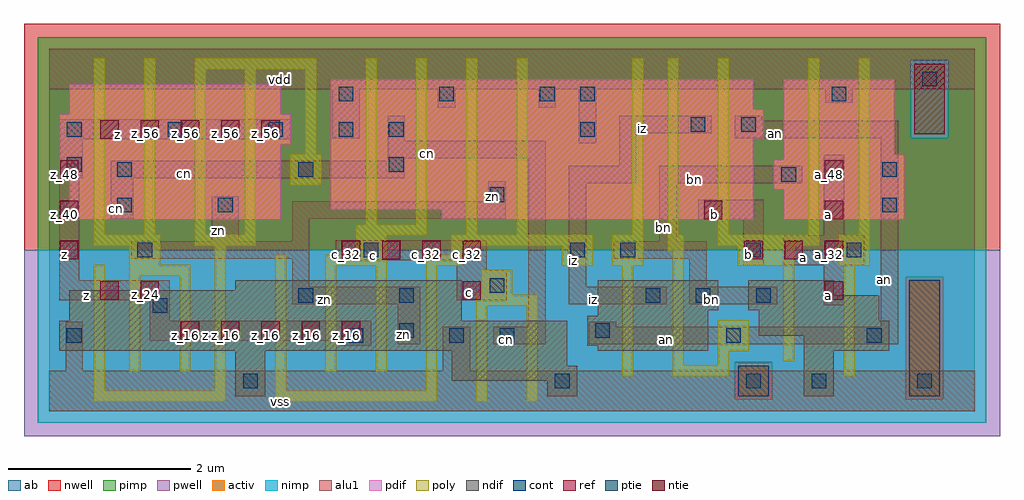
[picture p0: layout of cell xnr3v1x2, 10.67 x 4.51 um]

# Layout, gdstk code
import gdstk
lib = gdstk.Library(unit=1e-6, precision=2.5e-09)
def R(c, l, rs):  # rectangles x0, y0, x1, y1
    for r in rs: c.add(gdstk.rectangle(r[:2], r[2:], *l))
def A(c, l, x, y, w, h, nx, ny, dx, dy):  # array of equal rectangles
    R(c, l, [(x+i*dx, y+j*dy, x+i*dx+w, y+j*dy+h) for i in range(nx) for j in range(ny)])
ndif = (3, 0)
pdif = (4, 0)
ntie = (5, 0)
ptie = (6, 0)
ref = (24, 0)
cont = (25, 0)
pwell = (41, 0)
nwell = (42, 0)
activ = (43, 0)
pimp = (44, 0)
nimp = (45, 0)
poly = (46, 0)
alu1 = (49, 0)
ab = (63, 0)

xnr3v1x2 = lib.new_cell('xnr3v1x2')
R(xnr3v1x2, ndif, [(2.035,0.165,2.365,0.66), (5.445,0.165,5.775,0.33), (8.25,0.165,8.58,0.66), (4.4,0.33,5.775,0.495), (4.4,0.495,5.665,0.66), (0.11,0.66,5.665,0.99), (5.995,0.66,7.205,0.715), (8.25,0.66,9.185,0.825), (5.885,0.715,7.205,1.045), (7.755,0.825,9.185,0.99), (0.22,0.99,4.51,1.32), (7.755,0.99,9.075,1.1), (5.995,1.045,7.205,1.1), (5.995,1.1,7.315,1.43), (7.645,1.1,9.075,1.265), (7.645,1.265,8.58,1.43), (2.035,1.32,4.51,1.43)])
R(xnr3v1x2, pdif, [(0.22,2.09,2.53,2.53), (4.29,2.09,7.7,2.2), (8.03,2.09,9.35,2.42), (3.08,2.2,7.7,2.97), (7.92,2.42,9.35,2.75), (0.11,2.53,2.53,2.915), (8.03,2.75,9.35,2.805), (8.03,2.805,9.24,3.63), (0.11,2.915,2.64,3.245), (3.08,2.97,7.81,3.3), (0.22,3.245,2.53,3.575), (3.08,3.3,7.7,3.63)])
R(xnr3v1x2, ntie, [(9.46,3.025,9.79,3.795)])
R(xnr3v1x2, ptie, [(7.535,0.165,7.865,0.495), (9.405,0.165,9.735,1.43)])
A(xnr3v1x2, ref, 1.44, 0.78, 0.2, 0.2, 5, 1, 0.44, 0)
A(xnr3v1x2, ref, 0.12, 1.66, 0.2, 0.2, 1, 3, 0, 0.44)
A(xnr3v1x2, ref, 3.2, 1.66, 0.2, 0.2, 4, 1, 0.44, 0)
A(xnr3v1x2, ref, 7.6, 1.66, 0.2, 0.2, 3, 1, 0.44, 0)
A(xnr3v1x2, ref, 0.56, 2.98, 0.2, 0.2, 5, 1, 0.44, 0)
R(xnr3v1x2, ref, [(0.56,1.22,0.76,1.42), (1,1.22,1.2,1.42), (4.52,1.22,4.72,1.42), (8.48,1.22,8.68,1.42), (7.16,2.1,7.36,2.3), (8.48,2.1,8.68,2.3), (8.48,2.54,8.68,2.74)])
A(xnr3v1x2, cont, 0.195, 3, 0.16, 0.16, 3, 1, 1.1, 0)
A(xnr3v1x2, cont, 3.165, 3.385, 0.16, 0.16, 3, 1, 1.1, 0)
R(xnr3v1x2, cont, [(2.12,0.25,2.28,0.41), (5.53,0.25,5.69,0.41), (7.62,0.25,7.78,0.41), (8.335,0.25,8.495,0.41), (9.49,0.25,9.65,0.41), (0.195,0.745,0.355,0.905), (3.275,0.745,3.435,0.905), (4.375,0.745,4.535,0.905), (4.925,0.745,5.085,0.905), (7.4,0.745,7.56,0.905), (8.94,0.745,9.1,0.905), (3.825,0.8,3.985,0.96), (5.97,0.8,6.13,0.96), (1.13,1.075,1.29,1.235), (2.725,1.185,2.885,1.345), (3.825,1.185,3.985,1.345), (6.52,1.185,6.68,1.345), (7.07,1.185,7.23,1.345), (7.73,1.185,7.89,1.345), (4.815,1.295,4.975,1.455), (0.965,1.68,1.125,1.84), (3.44,1.68,3.6,1.84), (5.695,1.68,5.855,1.84), (6.245,1.68,6.405,1.84), (7.62,1.68,7.78,1.84), (8.72,1.68,8.88,1.84), (0.745,2.175,0.905,2.335), (1.845,2.175,2.005,2.335), (9.105,2.175,9.265,2.335), (4.815,2.285,4.975,2.445), (8.005,2.505,8.165,2.665), (0.745,2.56,0.905,2.72), (2.725,2.56,2.885,2.72), (9.105,2.56,9.265,2.72), (0.195,2.615,0.355,2.775), (3.715,2.615,3.875,2.775), (3.165,3,3.325,3.16), (3.715,3,3.875,3.16), (5.805,3,5.965,3.16), (7.015,3.055,7.175,3.215), (7.565,3.055,7.725,3.215), (5.805,3.385,5.965,3.545), (8.555,3.385,8.715,3.545), (9.545,3.55,9.705,3.71)])
R(xnr3v1x2, pwell, [(-0.275,-0.275,10.395,1.76)])
R(xnr3v1x2, nwell, [(-0.275,1.76,10.395,4.235)])
R(xnr3v1x2, activ, [(2.035,0.165,2.365,0.66), (5.445,0.165,5.775,0.33), (7.535,0.165,7.865,0.495), (8.25,0.165,8.58,0.66), (9.405,0.165,9.735,1.43), (4.4,0.33,5.775,0.495), (4.4,0.495,5.665,0.66), (0.11,0.66,5.665,0.99), (5.995,0.66,7.205,0.715), (8.25,0.66,9.185,0.825), (5.885,0.715,7.205,1.045), (7.755,0.825,9.185,0.99), (0.22,0.99,4.51,1.32), (7.755,0.99,9.075,1.1), (5.995,1.045,7.205,1.1), (5.995,1.1,7.315,1.43), (7.645,1.1,9.075,1.265), (7.645,1.265,8.58,1.43), (2.035,1.32,4.51,1.43), (0.22,2.09,2.53,2.53), (4.29,2.09,7.7,2.2), (8.03,2.09,9.35,2.42), (3.08,2.2,7.7,2.97), (7.92,2.42,9.35,2.75), (0.11,2.53,2.53,2.915), (8.03,2.75,9.35,2.805), (8.03,2.805,9.24,3.63), (0.11,2.915,2.64,3.245), (3.08,2.97,7.81,3.3), (9.46,3.025,9.79,3.795), (0.22,3.245,2.53,3.575), (3.08,3.3,7.7,3.63)])
R(xnr3v1x2, pimp, [(7.495,0.125,7.905,0.535), (9.365,0.125,9.775,1.47), (-0.125,1.76,10.245,2.985), (-0.125,2.985,9.42,3.835), (9.83,2.985,10.245,3.835), (-0.125,3.835,10.245,4.085)])
R(xnr3v1x2, nimp, [(-0.125,-0.125,10.245,0.125), (-0.125,0.125,7.495,0.535), (7.905,0.125,9.365,0.535), (9.775,0.125,10.245,1.47), (-0.125,0.535,9.365,1.47), (-0.125,1.47,10.245,1.76), (9.42,2.985,9.83,3.835)])
R(xnr3v1x2, poly, [(0.49,0.105,1.93,0.225), (2.47,0.105,4.24,0.225), (4.67,0.105,4.79,1.15), (5.22,0.105,5.34,1.15), (0.49,0.225,0.61,1.6), (1.81,0.225,1.93,1.81), (2.47,0.225,2.59,1.71), (4.12,0.225,4.24,1.59), (6.265,0.38,6.385,1.59), (6.815,0.38,7.43,0.5), (8.685,0.38,8.805,1.59), (0.875,0.435,0.995,1.48), (1.425,0.435,1.545,1.48), (3.02,0.435,3.14,1.59), (3.57,0.435,3.69,1.59), (6.815,0.5,6.935,1.755), (7.31,0.5,7.43,0.655), (8.025,0.545,8.145,1.59), (7.31,0.655,7.65,0.995), (4.67,1.15,5.34,1.27), (4.725,1.27,5.065,1.545), (0.875,1.48,1.545,1.6), (3.02,1.59,3.69,1.71), (4.12,1.59,4.515,1.71), (5.605,1.59,5.945,1.81), (6.155,1.59,6.495,1.93), (7.53,1.59,8.145,1.81), (8.63,1.59,8.97,1.93), (0.875,1.6,1.215,1.81), (3.35,1.71,3.69,1.92), (4.395,1.71,4.515,1.81), (6.76,1.755,6.935,1.93), (0.49,1.81,1.215,1.93), (1.59,1.81,2.26,1.93), (4.395,1.81,5.945,1.93), (7.31,1.81,8.42,1.93), (3.35,1.92,4.13,2.04), (0.49,1.93,0.61,3.855), (1.04,1.93,1.16,3.855), (1.59,1.93,1.71,3.735), (2.14,1.93,2.26,3.735), (4.56,1.93,4.68,3.855), (5.11,1.93,5.23,3.855), (6.375,1.93,6.495,3.855), (6.76,1.93,6.88,3.855), (7.31,1.93,7.43,3.855), (8.3,1.93,8.42,3.855), (8.85,1.93,8.97,3.855), (3.46,2.04,3.58,3.855), (4.01,2.04,4.13,3.855), (2.635,2.47,2.975,2.81), (2.8,2.81,2.92,3.735), (1.59,3.735,2.92,3.855)])
R(xnr3v1x2, alu1, [(0,0,10.12,0.44), (0.18,0.44,0.37,0.975), (4.305,0.44,4.605,0.92), (3.19,0.715,3.52,0.77), (3.81,0.73,4.055,1.17), (4.855,0.73,5.43,0.92), (5.9,0.73,9.28,0.92), (1.1,0.77,3.52,0.99), (5.24,0.92,5.43,2.765), (5.9,0.92,6.2,0.975), (9.09,0.92,9.28,2.985), (1.1,0.99,1.32,1.21), (8.47,1.155,8.69,1.595), (2.655,1.17,4.055,1.36), (5.68,1.17,6.75,1.36), (7,1.17,7.96,1.36), (0.11,1.21,1.32,1.43), (4.455,1.21,5.005,1.54), (2.655,1.36,2.845,1.665), (5.68,1.36,5.87,2.49), (7,1.36,7.19,1.665), (0.11,1.43,0.33,2.545), (4.455,1.54,4.785,1.65), (7.59,1.595,7.81,2.09), (8.03,1.595,8.91,1.925), (3.135,1.65,4.785,1.87), (0.895,1.665,2.845,1.855), (6.175,1.665,7.19,1.855), (1.775,1.855,2.075,2.35), (2.655,1.855,2.845,2.105), (6.67,1.855,6.86,2.49), (8.47,1.925,8.69,2.805), (7.095,2.09,7.81,2.31), (0.675,2.105,0.92,2.545), (2.655,2.105,4.99,2.295), (4.8,2.295,4.99,2.515), (5.68,2.49,6.42,2.68), (6.67,2.49,8.235,2.68), (0.11,2.545,0.37,2.97), (0.675,2.545,3.89,2.735), (6.23,2.68,6.42,3.04), (3.7,2.735,3.89,2.765), (3.7,2.765,5.43,2.955), (5.79,2.93,5.98,3.52), (3.7,2.955,3.89,3.23), (0.11,2.97,2.64,3.19), (3.095,2.985,3.395,3.52), (7.495,2.985,9.28,3.175), (6.23,3.04,7.245,3.23), (7.495,3.175,7.795,3.23), (4.25,3.315,4.44,3.52), (5.35,3.315,5.54,3.52), (8.485,3.37,8.785,3.52), (0,3.52,10.12,3.96)])
R(xnr3v1x2, ab, [(0,0,10.12,3.96)])
xnr3v1x2.add(gdstk.Label('vss', (2.53,0.11), layer=49, texttype=0))
xnr3v1x2.add(gdstk.Label('an', (6.745,0.7775), layer=49, texttype=0))
xnr3v1x2.add(gdstk.Label('an', (9.1375,1.435), layer=49, texttype=0))
xnr3v1x2.add(gdstk.Label('cn', (4.9975,0.7775), layer=49, texttype=0))
xnr3v1x2.add(gdstk.Label('a', (8.525,1.265), layer=49, texttype=0))
xnr3v1x2.add(gdstk.Label('bn', (7.24,1.2175), layer=49, texttype=0))
xnr3v1x2.add(gdstk.Label('iz', (5.9475,1.2175), layer=49, texttype=0))
xnr3v1x2.add(gdstk.Label('a', (8.25,1.6775), layer=49, texttype=0))
xnr3v1x2.add(gdstk.Label('a', (8.525,2.145), layer=49, texttype=0))
xnr3v1x2.add(gdstk.Label('b', (7.645,1.7175), layer=49, texttype=0))
xnr3v1x2.add(gdstk.Label('b', (7.2725,2.145), layer=49, texttype=0))
xnr3v1x2.add(gdstk.Label('bn', (6.7175,2.0125), layer=49, texttype=0))
xnr3v1x2.add(gdstk.Label('iz', (5.7275,1.6425), layer=49, texttype=0))
xnr3v1x2.add(gdstk.Label('bn', (7.06,2.5375), layer=49, texttype=0))
xnr3v1x2.add(gdstk.Label('an', (7.94,3.0325), layer=49, texttype=0))
xnr3v1x2.add(gdstk.Label('zn', (3.87,0.84), layer=49, texttype=0))
xnr3v1x2.add(gdstk.Label('z', (1.705,0.825), layer=49, texttype=0))
xnr3v1x2.add(gdstk.Label('c', (4.5925,1.2925), layer=49, texttype=0))
xnr3v1x2.add(gdstk.Label('zn', (3.005,1.2175), layer=49, texttype=0))
xnr3v1x2.add(gdstk.Label('c', (3.5475,1.705), layer=49, texttype=0))
xnr3v1x2.add(gdstk.Label('z', (0.4125,1.265), layer=49, texttype=0))
xnr3v1x2.add(gdstk.Label('zn', (4.8475,2.35), layer=49, texttype=0))
xnr3v1x2.add(gdstk.Label('zn', (1.85,1.9775), layer=49, texttype=0))
xnr3v1x2.add(gdstk.Label('cn', (0.735,2.215), layer=49, texttype=0))
xnr3v1x2.add(gdstk.Label('z', (0.165,1.7075), layer=49, texttype=0))
xnr3v1x2.add(gdstk.Label('cn', (1.4775,2.5925), layer=49, texttype=0))
xnr3v1x2.add(gdstk.Label('iz', (6.4825,3.0875), layer=49, texttype=0))
xnr3v1x2.add(gdstk.Label('cn', (4.1325,2.8125), layer=49, texttype=0))
xnr3v1x2.add(gdstk.Label('z', (0.7425,3.025), layer=49, texttype=0))
xnr3v1x2.add(gdstk.Label('vdd', (2.53,3.63), layer=49, texttype=0))
xnr3v1x2.add(gdstk.Label('c_32', (4.57,1.71), layer=24, texttype=0))
xnr3v1x2.add(gdstk.Label('c_24', (4.57,1.27), layer=24, texttype=0))
xnr3v1x2.add(gdstk.Label('c_32', (4.13,1.71), layer=24, texttype=0))
xnr3v1x2.add(gdstk.Label('c_32', (3.69,1.71), layer=24, texttype=0))
xnr3v1x2.add(gdstk.Label('c_32', (3.25,1.71), layer=24, texttype=0))
xnr3v1x2.add(gdstk.Label('z_16', (3.25,0.83), layer=24, texttype=0))
xnr3v1x2.add(gdstk.Label('z_16', (2.81,0.83), layer=24, texttype=0))
xnr3v1x2.add(gdstk.Label('z_56', (2.37,3.03), layer=24, texttype=0))
xnr3v1x2.add(gdstk.Label('z_16', (2.37,0.83), layer=24, texttype=0))
xnr3v1x2.add(gdstk.Label('z_48', (0.17,2.59), layer=24, texttype=0))
xnr3v1x2.add(gdstk.Label('z_40', (0.17,2.15), layer=24, texttype=0))
xnr3v1x2.add(gdstk.Label('z_32', (0.17,1.71), layer=24, texttype=0))
xnr3v1x2.add(gdstk.Label('z_56', (1.93,3.03), layer=24, texttype=0))
xnr3v1x2.add(gdstk.Label('z_16', (1.93,0.83), layer=24, texttype=0))
xnr3v1x2.add(gdstk.Label('z_56', (1.49,3.03), layer=24, texttype=0))
xnr3v1x2.add(gdstk.Label('z_16', (1.49,0.83), layer=24, texttype=0))
xnr3v1x2.add(gdstk.Label('z_56', (1.05,3.03), layer=24, texttype=0))
xnr3v1x2.add(gdstk.Label('z_24', (1.05,1.27), layer=24, texttype=0))
xnr3v1x2.add(gdstk.Label('a_48', (8.53,2.59), layer=24, texttype=0))
xnr3v1x2.add(gdstk.Label('a_40', (8.53,2.15), layer=24, texttype=0))
xnr3v1x2.add(gdstk.Label('a_32', (8.53,1.71), layer=24, texttype=0))
xnr3v1x2.add(gdstk.Label('a_24', (8.53,1.27), layer=24, texttype=0))
xnr3v1x2.add(gdstk.Label('a_32', (8.09,1.71), layer=24, texttype=0))
xnr3v1x2.add(gdstk.Label('b_32', (7.65,1.71), layer=24, texttype=0))
xnr3v1x2.add(gdstk.Label('b_40', (7.21,2.15), layer=24, texttype=0))
xnr3v1x2.add(gdstk.Label('z_56', (0.61,3.03), layer=24, texttype=0))
xnr3v1x2.add(gdstk.Label('z_24', (0.61,1.27), layer=24, texttype=0))

lib.write_gds('xnr3v1x2.gds')
